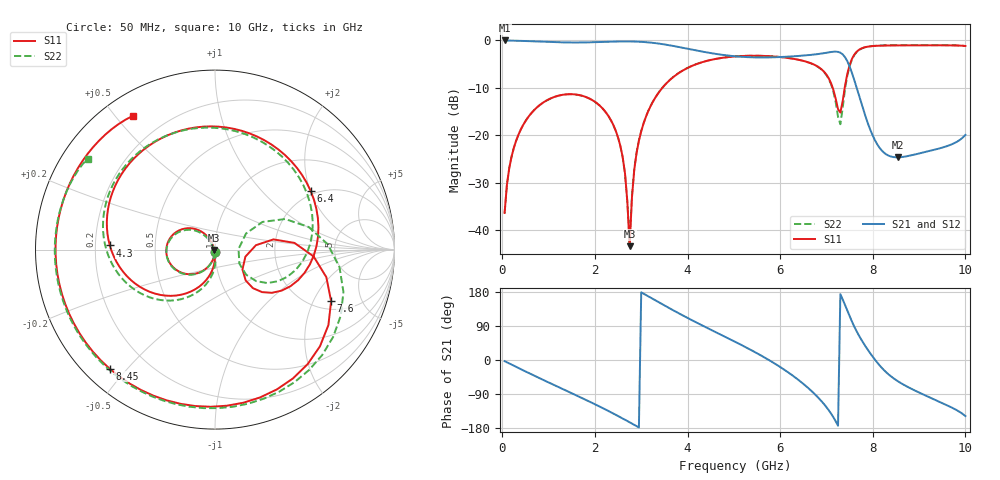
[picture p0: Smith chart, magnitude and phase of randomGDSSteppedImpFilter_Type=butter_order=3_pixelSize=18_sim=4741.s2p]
! freq	dB(S11)	phase(S11)	dB(S12)	phase(S12)
!  dB(S21)	phase(S21)	dB(S22)	phase(S22)
!S-par simulation data
#  GHz  S  DB  R 50
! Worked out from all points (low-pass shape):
!   200 points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, 50 MHz to 10 GHz, reference 50 ohm
!   highest |S21| = -0.01 dB at 50 MHz (marker M1); lowest = -24.6 dB at 8.55 GHz (marker M2)
!   |S21| within 3 dB of the highest: start of sweep to 4.73 GHz; 6.7 GHz to 7.357 GHz (656.3 MHz wide, 9.34 % of centre)
!   lowest |S11| = -43.3 dB at 2.75 GHz (marker M3), VSWR 1.01, Z = 49.4 - j0.248 ohm
!   |S11| at or under -10 dB: start of sweep to 3.455 GHz; 7.135 GHz to 7.394 GHz (259.1 MHz wide, 3.57 % of centre)
!   |S22| runs from -42.5 to -1.0 dB; largest |S21 - S12| = 0
!   S11 on the Smith chart (normalised r, x): 50 MHz: 1.00, -0.03; 4.3 GHz: 0.26, +0.02; 6.4 GHz: 1.87, +2.01; 7.6 GHz: 2.40, -2.77; 8.45 GHz: 0.07, -0.45; 10 GHz: 0.09, +0.56
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0.05  -36.34 -92.7  -0.01 -3.1  -0.01 -3.1  -36.33 -92.6
0.2  -24.47 -102.2  -0.04 -12.2  -0.04 -12.2  -24.47 -101.9
0.5  -17.00 -121.0  -0.13 -30.1  -0.13 -30.1  -17.00 -120.3
1.75  -11.73 166.3  -0.42 -102.1  -0.42 -102.1  -11.74 168.9
2.5  -20.44 121.7  -0.22 -147.8  -0.22 -147.8  -20.47 126.0
2.65  -28.01 115.4  -0.21 -157.7  -0.21 -157.7  -28.07 120.9
2.75  -43.33 -158.4  -0.21 -164.4  -0.21 -164.4  -42.51 -153.1
2.95  -21.12 -94.0  -0.27 -178.0  -0.27 -178.0  -21.07 -89.9
3.4  -10.68 -123.4  -0.69 150.9  -0.69 150.9  -10.66 -118.0
4.3  -4.63 177.7  -2.32 92.2  -2.32 92.2  -4.63 -174.4
5.05  -3.35 131.5  -3.36 46.6  -3.36 46.6  -3.35 141.8
6.4  -4.08 31.5  -3.27 -53.1  -3.27 -53.1  -4.08 45.4
6.7  -4.95 1.9  -3.01 -84.4  -3.01 -84.4  -4.96 15.3
7.25  -14.48 -35.9  -2.41 -173.4  -2.41 -173.4  -16.09 -30.0
7.45  -7.05 4.8  -4.36 130.4  -4.36 130.4  -7.40 23.6
7.6  -3.00 -24.0  -8.32 88.4  -8.32 88.4  -3.09 -8.1
7.9  -1.30 -73.0  -17.61 25.6  -17.61 25.6  -1.30 -59.0
8.35  -1.06 -122.5  -24.30 -38.9  -24.30 -38.9  -1.02 -108.5
8.45  -1.05 -131.6  -24.57 -48.5  -24.57 -48.5  -1.01 -117.3
8.55  -1.04 -140.2  -24.62 -56.7  -24.62 -56.7  -1.00 -125.6
9.2  -1.02 171.6  -23.34 -97.1  -23.34 -97.1  -0.98 -170.5
10  -1.17 121.3  -19.89 -148.0  -19.89 -148.0  -1.19 144.5
